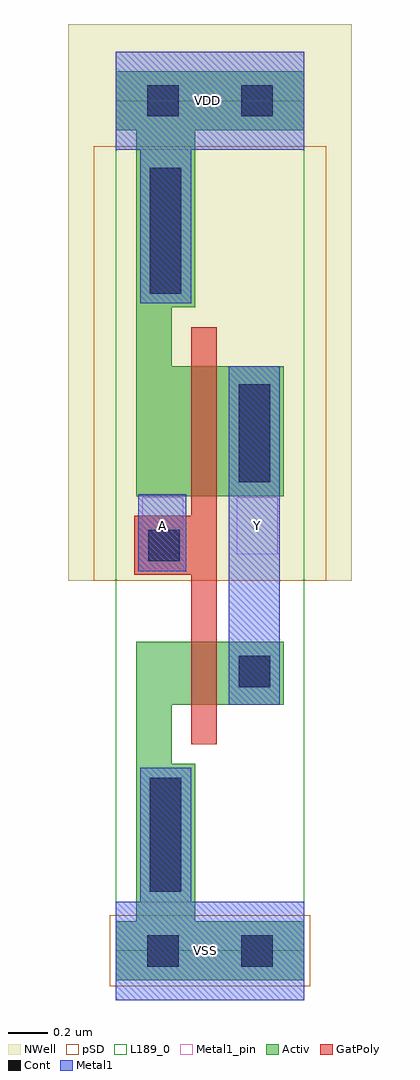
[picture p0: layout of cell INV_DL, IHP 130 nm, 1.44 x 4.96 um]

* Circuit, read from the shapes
.subckt INV_DL A VDD VSS Y
XM1 Y A VSS VSS sg13_lv_nmos w=0.32u l=0.13u
XM2 Y A VDD VDD sg13_lv_pmos w=0.66u l=0.13u
.ends

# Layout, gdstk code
import gdstk
lib = gdstk.Library(unit=1e-6, precision=1e-09)
def R(c, l, rs):  # rectangles x0, y0, x1, y1
    for r in rs: c.add(gdstk.rectangle(r[:2], r[2:], *l))
def P(c, l, *ps):  # polygons
    for p in ps: c.add(gdstk.Polygon(p, *l))
Activ = (1, 0)
GatPoly = (5, 0)
Cont = (6, 0)
Metal1 = (8, 0)
Metal1_pin = (8, 2)
pSD = (14, 0)
NWell = (31, 0)
L189_0 = (189, 0)

inv_dl = lib.new_cell('INV_DL')
P(inv_dl, Activ, [(0,4.17),(0.105,4.17),(0.105,2.31),(0.855,2.31),(0.855,2.97),(0.285,2.97),(0.285,3.27),(0.405,3.27),(0.405,4.17),(0.96,4.17),(0.96,4.47),(0,4.47)],
  [(0.105,0.15),(0,0.15),(0,-0.15),(0.96,-0.15),(0.96,0.15),(0.405,0.15),(0.405,0.95),(0.285,0.95),(0.285,1.25),(0.855,1.25),(0.855,1.57),(0.105,1.57)])
P(inv_dl, GatPoly, [(0.515,3.17),(0.385,3.17),(0.385,2.21),(0.095,2.21),(0.095,1.91),(0.385,1.91),(0.385,1.05),(0.515,1.05)])
R(inv_dl, Cont, [(0.16,-0.08,0.32,0.08), (0.64,-0.08,0.8,0.08), (0.175,0.3,0.335,0.88), (0.625,1.34,0.785,1.5), (0.165,1.98,0.325,2.14), (0.625,2.38,0.785,2.88), (0.175,3.34,0.335,3.98), (0.16,4.24,0.32,4.4), (0.64,4.24,0.8,4.4)])
R(inv_dl, Metal1, [(0.575,1.25,0.835,2.97), (0.115,1.93,0.36,2.32)])
P(inv_dl, Metal1, [(0.385,3.29),(0.385,4.07),(0.96,4.07),(0.96,4.57),(0,4.57),(0,4.07),(0.125,4.07),(0.125,3.29)],
  [(0.125,0.93),(0.125,0.25),(0,0.25),(0,-0.25),(0.96,-0.25),(0.96,0.25),(0.385,0.25),(0.385,0.93)])
R(inv_dl, Metal1_pin, [(0,-0.25,0.96,0.25), (0.135,2.015,0.345,2.305), (0.615,2.015,0.825,2.305), (0,4.07,0.96,4.57)])
R(inv_dl, pSD, [(-0.03,-0.18,0.99,0.18), (-0.11,1.88,1.07,4.09)])
R(inv_dl, NWell, [(-0.24,1.88,1.2,4.71)])
R(inv_dl, L189_0, [(0,0,0.96,4.32)])
inv_dl.add(gdstk.Label('VDD', (0.465,4.32), layer=8, texttype=25))
inv_dl.add(gdstk.Label('VSS', (0.455,0), layer=8, texttype=25))
inv_dl.add(gdstk.Label('Y', (0.72,2.16), layer=8, texttype=25))
inv_dl.add(gdstk.Label('A', (0.24,2.16), layer=8, texttype=25))

lib.write_gds('INV_DL.gds')
